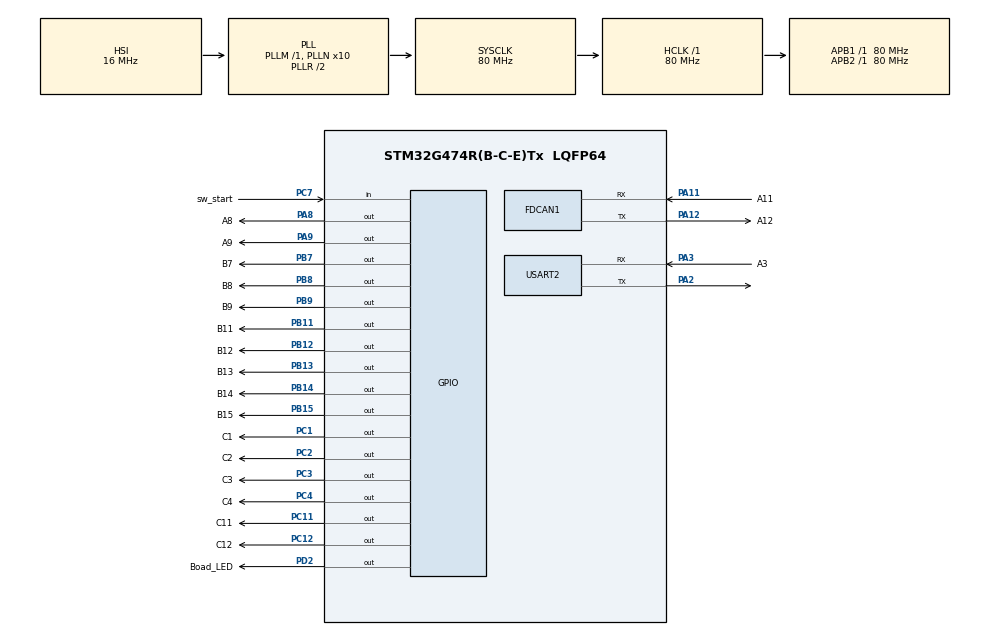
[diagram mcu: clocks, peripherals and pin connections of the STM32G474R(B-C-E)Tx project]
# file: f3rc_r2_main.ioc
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FDCAN1.CalculateBaudRateNominal=1000000
FDCAN1.CalculateTimeBitNominal=1000
FDCAN1.CalculateTimeQuantumNominal=50.0
FDCAN1.DataPrescaler=2
FDCAN1.DataTimeSeg1=15
FDCAN1.DataTimeSeg2=4
FDCAN1.FrameFormat=FDCAN_FRAME_FD_BRS
FDCAN1.NominalPrescaler=4
FDCAN1.NominalTimeSeg1=15
FDCAN1.NominalTimeSeg2=4
FDCAN1.StdFiltersNbr=1
Mcu.Family=STM32G4
Mcu.Name=STM32G474R(B-C-E)Tx
Mcu.Package=LQFP64
NVIC.FDCAN1_IT0_IRQn=true\:0\:0\:false\:false\:true\:true\:true\:true
NVIC.FDCAN1_IT1_IRQn=true\:0\:0\:false\:false\:true\:true\:true\:true
NVIC.PriorityGroup=NVIC_PRIORITYGROUP_4
NVIC.TIM6_DAC_IRQn=true\:0\:0\:false\:false\:true\:true\:true\:true
NVIC.TIM7_DAC_IRQn=true\:0\:0\:false\:false\:true\:true\:true\:true
PA11.GPIO_Label=A11
PA11.Mode=FDCAN_Activate
PA11.Signal=FDCAN1_RX
PA12.GPIO_Label=A12
PA12.Mode=FDCAN_Activate
PA12.Signal=FDCAN1_TX
PA2.Mode=Asynchronous
PA2.Signal=USART2_TX
PA3.GPIO_Label=A3
PA3.Mode=Asynchronous
PA3.Signal=USART2_RX
PA8.GPIO_Label=A8
PA8.Signal=GPIO_Output
PA9.GPIO_Label=A9
PA9.Signal=GPIO_Output
PB11.GPIO_Label=B11
PB11.Signal=GPIO_Output
PB12.GPIO_Label=B12
PB12.Signal=GPIO_Output
PB13.GPIO_Label=B13
PB13.Signal=GPIO_Output
PB14.GPIO_Label=B14
PB14.Signal=GPIO_Output
PB15.GPIO_Label=B15
PB15.Signal=GPIO_Output
PB7.GPIO_Label=B7
PB7.Signal=GPIO_Output
PB8-BOOT0.GPIO_Label=B8
PB8-BOOT0.Signal=GPIO_Output
PB9.GPIO_Label=B9
PB9.Signal=GPIO_Output
PC1.GPIO_Label=C1
PC1.Signal=GPIO_Output
PC11.GPIO_Label=C11
PC11.Signal=GPIO_Output
PC12.GPIO_Label=C12
PC12.Signal=GPIO_Output
PC2.GPIO_Label=C2
PC2.Signal=GPIO_Output
PC3.GPIO_Label=C3
PC3.Signal=GPIO_Output
PC4.GPIO_Label=C4
PC4.Signal=GPIO_Output
PC7.GPIO_Label=sw_start
PC7.GPIO_PuPd=GPIO_PULLUP
PC7.Signal=GPIO_Input
PD2.GPIO_Label=Boad_LED
PD2.Signal=GPIO_Output
ProjectManager.HeapSize=0x200
ProjectManager.StackSize=0x400
ProjectManager.TargetToolchain=STM32CubeIDE
RCC.ADC12Freq_Value=80000000
RCC.ADC345Freq_Value=80000000
RCC.AHBFreq_Value=80000000
RCC.APB1Freq_Value=80000000
RCC.APB1TimFreq_Value=80000000
RCC.APB2Freq_Value=80000000
RCC.APB2TimFreq_Value=80000000
RCC.CortexFreq_Value=80000000
RCC.EXTERNAL_CLOCK_VALUE=12288000
RCC.HCLKFreq_Value=80000000
RCC.HSE_VALUE=8000000
RCC.HSI48_VALUE=48000000
RCC.HSI_VALUE=16000000
RCC.LSE_VALUE=32768
RCC.PLLN=10
RCC.SYSCLKFreq_VALUE=80000000
RCC.SYSCLKSource=RCC_SYSCLKSOURCE_PLLCLK
RCC.USBFreq_Value=80000000
RCC.VCOOutputFreq_Value=160000000
TIM6.PeriodNoDither=7999
TIM6.Prescaler=9
TIM7.PeriodNoDither=7999
TIM7.Prescaler=999
USART2.VirtualMode-Asynchronous=VM_ASYNC
VP_SYS_VS_DBSignals.Mode=DisableDeadBatterySignals
VP_TIM6_VS_ClockSourceINT.Mode=Enable_Timer
VP_TIM7_VS_ClockSourceINT.Mode=Enable_Timer
board=custom

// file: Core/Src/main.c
/* USER CODE BEGIN Header */
/**
  ******************************************************************************
  * @file           : main.c
  * @brief          : Main program body
  ******************************************************************************
  * @attention
  *
  * Copyright (c) 2024 STMicroelectronics.
  * All rights reserved.
  *
  * This software is licensed under terms that can be found in the LICENSE file
  * in the root directory of this software component.
  * If no LICENSE file comes with this software, it is provided AS-IS.
  *
  ******************************************************************************
  */
/* USER CODE END Header */
#include "main.h"

/* USER CODE BEGIN Includes */
#include <stdio.h>
#include <math.h>
/* USER CODE END Includes */

/* USER CODE BEGIN PTD */
typedef struct{
	volatile int16_t x;
	volatile int16_t y;
	volatile float theta;
	volatile float indx;
	volatile float indy;
	volatile float indt;
}purpose;
/* USER CODE END PTD */

/* USER CODE BEGIN PD */
#define PI 3.1415
/* USER CODE END PD */

FDCAN_HandleTypeDef hfdcan1;

TIM_HandleTypeDef htim6;
TIM_HandleTypeDef htim7;

UART_HandleTypeDef huart2;

/* USER CODE BEGIN PV */
const uint8_t mv_state = 2, kaishu_state = 3, reset_state = 4;
const int16_t state_id = 0x100, vel_id = 0x001;;
FDCAN_TxHeaderTypeDef TxHeader;
FDCAN_RxHeaderTypeDef RxHeader;
FDCAN_FilterTypeDef sFilterConfig;

uint8_t TxData[8] = {};
uint8_t RxData[8] = {};
uint32_t TxMailbox;

int16_t x = 0, y = 0;
float theta = 0;

float p_x = 0, p_y = 0, p_t = 0;
purpose mokuhyo[10] = {
		{-100, 1360, 0, 0, 0, 0},//toppings 1
		{-110, 1360, PI/2, 0, 0, 0},//
		{-800, 922, PI/2, 0, 0, 0},//oke y
		{-2100, 1022, PI/2, 0, 0, 0},// oke
		{-1582/2, 980, PI/2, 0, 0, 0},//?
		{-1582/2, 50, PI/2, 0, 0, 0},//?
		{-1382, 60, PI/2, 0, 0, 0},//toppings 2
		{-1400, 80, PI/2, 0, 0, 0},//oke x
		{-1400, 920, PI/2, 0, 0, 0},//oke x y
		{-2100, 922, PI/2, 0, 0, 0}//oke(dish)
};

volatile float vx = 0, vy = 0;//mm/ms
volatile float omega = 0;
uint8_t state = 0;
uint8_t sub_state = 0;
uint8_t hantei_4 = 0;

uint16_t t_1 = 0;
uint16_t t_3 = 0;
uint16_t t_2 = 0;
uint16_t t_6 = 0;

float diffx = 0, diffy = 0, difft = 0;
/* USER CODE END PV */

void SystemClock_Config(void);
static void MX_GPIO_Init(void);
static void MX_FDCAN1_Init(void);
static void MX_USART2_UART_Init(void);
static void MX_TIM6_Init(void);
static void MX_TIM7_Init(void);

/* USER CODE BEGIN 0 */

void HAL_FDCAN_RxFifo1Callback(FDCAN_HandleTypeDef *hfdcan, uint32_t RxFifo1ITs){
	if ((RxFifo1ITs & FDCAN_IT_RX_FIFO1_NEW_MESSAGE) != RESET) {

	        /* Retrieve Rx messages from RX FIFO0 */

		if (HAL_FDCAN_GetRxMessage(&hfdcan1, FDCAN_RX_FIFO1, &RxHeader, RxData) != HAL_OK) {
			printf("fdcan_getrxmessage is error\r\n");
			Error_Handler();
		}

		if (RxHeader.Identifier == 0x400) {
			//printf("canlive");
			x = (int16_t)((RxData[0] << 8) | RxData[1]);
			y = (int16_t)((RxData[2] << 8) | RxData[3]);
			theta = (int16_t)((RxData[4] << 8) | RxData[5]);
			hantei_4 = RxData[6];
//			float theta_syf = (int16_t)((RxData[4] << 8) | RxData[5]);
//			theta_syf /= 10000;
//			if (theta >= 0) {
//				theta += theta_syf;
//			}
//			else {
//				theta -= theta_syf;
//			}
			theta /= 400;
		}
	}
}

void FDCAN_RxTxSettings(void){
	FDCAN_FilterTypeDef FDCAN_Filter_settings;
	FDCAN_Filter_settings.IdType = FDCAN_STANDARD_ID;
	FDCAN_Filter_settings.FilterIndex = 0;
	FDCAN_Filter_settings.FilterType = FDCAN_FILTER_RANGE;
	FDCAN_Filter_settings.FilterConfig = FDCAN_FILTER_TO_RXFIFO1;
	FDCAN_Filter_settings.FilterID1 = 0x000;
	FDCAN_Filter_settings.FilterID2 = 0x600;

	TxHeader.Identifier = 0x000;
	TxHeader.IdType = FDCAN_STANDARD_ID;
	TxHeader.TxFrameType = FDCAN_DATA_FRAME;
	TxHeader.DataLength = FDCAN_DLC_BYTES_8;
	TxHeader.ErrorStateIndicator = FDCAN_ESI_ACTIVE;
	TxHeader.BitRateSwitch = FDCAN_BRS_ON;
	TxHeader.FDFormat = FDCAN_FD_CAN;
	TxHeader.TxEventFifoControl = FDCAN_NO_TX_EVENTS;
	TxHeader.MessageMarker = 0;

	if (HAL_FDCAN_ConfigFilter(&hfdcan1, &FDCAN_Filter_settings) != HAL_OK){
		printf("fdcan_configfilter is error\r\n");
		Error_Handler();
	}

	if (HAL_FDCAN_ConfigGlobalFilter(&hfdcan1, FDCAN_REJECT, FDCAN_FILTER_REJECT, FDCAN_FILTER_REMOTE, FDCAN_FILTER_REMOTE) != HAL_OK){
		printf("fdcan_configglobalfilter is error\r\n");
		Error_Handler();
	}

	if (HAL_FDCAN_Start(&hfdcan1) != HAL_OK) {
		printf("fdcan_start is error\r\n");
		Error_Handler();
	}

	if (HAL_FDCAN_ActivateNotification(&hfdcan1, FDCAN_IT_RX_FIFO1_NEW_MESSAGE, 0) != HAL_OK){
		printf("fdcan_activatenotification is error\r\n");
		Error_Handler();
	}
}

void state_Tx(int8_t st, uint8_t sub_st){
	TxHeader.Identifier = state_id;
	uint8_t TxData_state[8] = {};
	TxData_state[0] = st;
	TxData_state[1] = sub_st;

	if (HAL_FDCAN_AddMessageToTxFifoQ(&hfdcan1, &TxHeader, TxData_state) != HAL_OK) {
		printf("addmassage_state is error\r\n");
		Error_Handler();
	}
}

void vel_Tx(int16_t V_X, int16_t V_Y, int16_t Omega){
	TxHeader.Identifier = vel_id;
	uint8_t TxData_vel[8] = {};

//	uint16_t Omega_syi;
//	uint8_t Omega_se;
//	if (Omega > 0){
//		Omega_se = (int16_t)Omega;
//		float Omega_syf = Omega - (int16_t)Omega;
//		Omega_syi = (uint16_t)(Omega_syf*10000);
//	}
//	else{
//		Omega_se = (int16_t)Omega;
//		float Omega_k = -Omega;
//		float Omega_syf = Omega_k - (int16_t)Omega_k;
//		Omega_syi = (uint16_t)(Omega_syf*10000);
//
//	}

	TxData_vel[0] = (int16_t)(V_X) >> 8;
	TxData_vel[1] = (uint8_t)((int16_t)(V_X) & 0xff);
	TxData_vel[2] = (int16_t)(V_Y) >> 8;
	TxData_vel[3] = (uint8_t)((int16_t)(V_Y) & 0xff);
	TxData_vel[4] = (int16_t)(Omega) >> 8;
	TxData_vel[5] = (uint8_t)((int16_t)(Omega) & 0xff);
	//TxData_vel[6] = Omega_se;
	//printf("%d\r\n",TxData_vel[3]);

	if (HAL_FDCAN_AddMessageToTxFifoQ(&hfdcan1, &TxHeader, TxData_vel) != HAL_OK){
		printf("add_message_vel is error\r\n");
		Error_Handler();
	}
}

void HAL_TIM_PeriodElapsedCallback(TIM_HandleTypeDef *htim){
	if (&htim6 == htim) {
		if (mv_state == state){
			uint8_t m_state = sub_state;
			float k_p = 0.001, k_i = 0, k_d = 0;
			float k_p_t = 1, k_i_t = 0, k_d_t = 0;
			float hensax = mokuhyo[m_state].x - x;
			float dx = (float)x - p_x;
			mokuhyo[m_state].indx += hensax;
			vx = (k_p*hensax + k_i*mokuhyo[m_state].indx + k_d*dx);

			p_x = x;

			float hensay = mokuhyo[m_state].y -y;
			float dy = (float)y - p_y;
			mokuhyo[m_state].indy += hensay;
			vy = (k_p*hensay + k_i*mokuhyo[m_state].indy + k_d*dy);
			//int Dy=vy*1000;
			//printf("dy:%d\r\n",Dy);

			p_y = y;

			float hensat = mokuhyo[m_state].theta - theta;
			float dt = theta - p_t;
			mokuhyo[m_state].indt += hensat;
			omega =(k_p_t*hensat + k_i_t*mokuhyo[m_state].indt + k_d_t*dt);

			p_t = theta;
			//printf("%d\r\n", (int)(omega*100));
		}
		else if (kaishu_state == state) {
			if (0 == sub_state){
			vx = 0;
			vy = 0.075;
			omega = 0;
			}
			else if (1 == sub_state) {
				vx = -0.075;
				vy = 0;
				omega = 0;
			}
		}
		else if (reset_state == state) {
			if (0 == sub_state) {
				vx = 0.05;
				vy = 0;
				omega = 0;
			}
			if (1 == sub_state){
				vx = -0.15;
				vy = -0.5;
				omega = 0;
			}
			else if (2 == sub_state) {
				vx = 0;
				vy = -0.1;
				omega = 0;
			}
			else if (3 == sub_state) {
				vx = 0;
				vy = -0.1;
				omega = 0;
			}
		}

		else if (128 == state) {
			vx = 0;
			vy = 0;
			omega = 0;
		}
		else{
			vx = 0;
			vy = 0;
			omega = 0;
		}
		if (vx >= 0.4) {
			vx = 0.4;
		}
		else if (vx <= -0.4) {
			vx = -0.4;
		}
		if (vy >= 0.4) {
			vy = 0.4;
		}
		else if (vy <= -0.4) {
			vy = -0.4;
		}
		if (omega >= 0.5) {
			omega = 0.5;
		}
		else if (omega <= -0.5) {
			omega = -0.5;
		}
		int16_t vx_tusin = (int16_t)(vx * 1000);
		int16_t vy_tusin = (int16_t)(vy * 1000);
		int16_t omega_tusin = (int16_t)(omega * 400);
		vel_Tx(vx_tusin, vy_tusin, omega_tusin);

	}

	if (&htim7 == htim) {
		if (0 == state) {
			if (GPIO_PIN_RESET == HAL_GPIO_ReadPin(sw_start_GPIO_Port,sw_start_Pin)){
				//switch
				state = 1;
				sub_state = 0;
			}
		}
		else if (1 == state) {
			if (GPIO_PIN_RESET == HAL_GPIO_ReadPin(sw_start_GPIO_Port,sw_start_Pin)) {
				if (10 <= t_1){
					t_1 = 0;
					state = 2;
					sub_state = 0;
				}
				else {
					t_1++;
				}
			}
			else {
				t_1++;
			}
		}
		else if (2 == state) {
			if (((fabsf(x-mokuhyo[sub_state].x) < 50) && (fabsf(y-mokuhyo[sub_state].y) < 50) && (fabsf(theta-mokuhyo[sub_state].theta) < 0.03)) || (t_2 >= 100)){
				t_2 = 0;
				if (0 == sub_state) {
					state = 3;
					sub_state = 0;
				}
				else if (1 == sub_state) {
					state = 4;
					sub_state = 1;
				}
				else if (2 == sub_state) {
					state = 2;
					sub_state = 3;
				}
				else if (3 == sub_state) {
					state = 6;
					sub_state = 0;
				}
				else if (4 == sub_state) {
					state = 2;
					sub_state = 5;
				}
				else if (5 == sub_state) {
					state = 4;
					sub_state = 2;
				}
				else if (6 == sub_state) {
					state = 3;
					sub_state = 1;
				}
				else if (7 == sub_state) {
					state = 4;
					sub_state = 3;
				}
				else if (8 == sub_state) {
					state = 2;
					sub_state = 9;
				}
				else if (9 == sub_state) {
					state = 6;
					sub_state = 1;
				}

				else {
					state = 128;
					sub_state = 128;
				}
			}
			else {
				t_2++;
			}
		}
			//else
		else if (3 == state) {
			if (0 == sub_state){
				if (t_3 > 130) {
					t_3 = 0;
					state = 4;
					sub_state = 0;
				}
				else {
					t_3++;
				}
			}
			else if (1 == sub_state) {
				if (t_3 > 150) {
					t_3 = 0;
					state = 2;
					sub_state = 7;
				}
				else {
					t_3++;
				}
			}
			else {
				state = 128;
				sub_state = 128;
			}
		}
		else if (4 == state) {
			if (0 == sub_state) {
				if (1 == hantei_4) {
					state = 2;
					sub_state = 1;
				}
			}

			else if (1 == sub_state) {
				if (1 == hantei_4){
					state = 2;
					sub_state = 2;
				}
			}
			else if (2 == sub_state) {
				if (1 == hantei_4) {
					state = 2;
					sub_state = 6;
				}
			}
			else if (3 == sub_state) {
				if (1 == hantei_4) {
					state = 2;
					sub_state = 8;
				}
			}
			else {
				state = 128;
				sub_state = 128;
			}
		}
		else if (5 == state) {
			if (NULL) {//raspberry pi
				state = 128;
				sub_state = 128;
			}
		}
		else if (6 == state) {
			if (0 == sub_state) {
				if (t_6 > 50) {
					t_6 = 0;
					state = 2;
					sub_state = 4;
				}
				else {
					t_6++;
				}
			}
			if (1 == sub_state) {
				if (t_6 > 50) {
					t_6 = 0;
					state = 6;
					sub_state = 1;
				}
				else {
					t_6++;
				}
			}
		}

		else if (128 == state) {
			HAL_GPIO_WritePin(Boad_LED_GPIO_Port, Boad_LED_Pin, GPIO_PIN_SET);
		}
		else {
			state = 128;
			sub_state = 128;
		}
		state_Tx(state, sub_state);
	}
}

int _write(int file, char *ptr, int len)
{
    HAL_UART_Transmit(&huart2,(uint8_t *)ptr,len,10);
    return len;
}
/* USER CODE END 0 */

int main(void)
{

  /* USER CODE BEGIN 1 */
	setbuf(stdout, NULL);
  /* USER CODE END 1 */

  /* MCU Configuration--------------------------------------------------------*/

  /* Reset of all peripherals, Initializes the Flash interface and the Systick. */
  HAL_Init();

  /* Configure the system clock */
  SystemClock_Config();

  /* Initialize all configured peripherals */
  MX_GPIO_Init();
  MX_FDCAN1_Init();
  MX_USART2_UART_Init();
  MX_TIM6_Init();
  MX_TIM7_Init();
  /* USER CODE BEGIN 2 */
  printf("start\r\n");
  FDCAN_RxTxSettings();
  printf("can_main_start\r\n");
  HAL_TIM_Base_Start_IT(&htim6);
  HAL_TIM_Base_Start_IT(&htim7);
  /* USER CODE END 2 */

  /* Infinite loop */
  /* USER CODE BEGIN WHILE */
  //HAL_GPIO_WritePin(B15_GPIO_Port, B15_Pin, GPIO_PIN_SET);
  //HAL_GPIO_WritePin(A8_GPIO_Port, A8_Pin, GPIO_PIN_SET);
  while (1)
  {
    /* USER CODE END WHILE */

    /* USER CODE BEGIN 3 */
	  //printf("x: %d,y: %d\r\n",x,y);
	  //printf("dy: %f\r\n",dy);
	  //printf("%d.%d\r\n", (int)vy, (int)(100*(vy-(int)vy)));
	  //printf("%d\r\n", (int)(omega*100));

	  if (0 == sub_state) {
		  HAL_GPIO_WritePin(B7_GPIO_Port, B7_Pin, GPIO_PIN_SET);
		  HAL_GPIO_WritePin(B8_GPIO_Port, B8_Pin, GPIO_PIN_SET);
		  HAL_GPIO_WritePin(B9_GPIO_Port, B9_Pin, GPIO_PIN_SET);
		  HAL_GPIO_WritePin(C12_GPIO_Port, C12_Pin, GPIO_PIN_SET);
		  HAL_GPIO_WritePin(A9_GPIO_Port, A9_Pin, GPIO_PIN_SET);
		  HAL_GPIO_WritePin(C4_GPIO_Port, C4_Pin, GPIO_PIN_SET);

		  HAL_GPIO_WritePin(C11_GPIO_Port, C11_Pin, GPIO_PIN_RESET);
	  }
	  else if (1 == sub_state) {
		  HAL_GPIO_WritePin(C4_GPIO_Port, C4_Pin, GPIO_PIN_SET);
		  HAL_GPIO_WritePin(B7_GPIO_Port, B7_Pin, GPIO_PIN_SET);

		  HAL_GPIO_WritePin(B8_GPIO_Port, B8_Pin, GPIO_PIN_RESET);
		  HAL_GPIO_WritePin(B9_GPIO_Port, B9_Pin, GPIO_PIN_RESET);
		  HAL_GPIO_WritePin(C12_GPIO_Port, C12_Pin, GPIO_PIN_RESET);
		  HAL_GPIO_WritePin(A9_GPIO_Port, A9_Pin, GPIO_PIN_RESET);
		  HAL_GPIO_WritePin(C11_GPIO_Port, C11_Pin, GPIO_PIN_RESET);
	  }
	  else if (2 == sub_state) {
		  HAL_GPIO_WritePin(B7_GPIO_Port, B7_Pin, GPIO_PIN_SET);
		  HAL_GPIO_WritePin(B8_GPIO_Port, B8_Pin, GPIO_PIN_SET);
		  HAL_GPIO_WritePin(C11_GPIO_Port, C11_Pin, GPIO_PIN_SET);
		  HAL_GPIO_WritePin(A9_GPIO_Port, A9_Pin, GPIO_PIN_SET);
		  HAL_GPIO_WritePin(C12_GPIO_Port, C12_Pin, GPIO_PIN_SET);

		  HAL_GPIO_WritePin(C4_GPIO_Port, C4_Pin, GPIO_PIN_RESET);
		  HAL_GPIO_WritePin(B9_GPIO_Port, B9_Pin, GPIO_PIN_RESET);
	  }
	  else if (3 == sub_state) {
		  HAL_GPIO_WritePin(B7_GPIO_Port, B7_Pin, GPIO_PIN_SET);
		  HAL_GPIO_WritePin(B8_GPIO_Port, B8_Pin, GPIO_PIN_SET);
		  HAL_GPIO_WritePin(C11_GPIO_Port, C11_Pin, GPIO_PIN_SET);
		  HAL_GPIO_WritePin(C12_GPIO_Port, C12_Pin, GPIO_PIN_SET);
		  HAL_GPIO_WritePin(C4_GPIO_Port, C4_Pin, GPIO_PIN_SET);

		  HAL_GPIO_WritePin(B9_GPIO_Port, B9_Pin, GPIO_PIN_RESET);
		  HAL_GPIO_WritePin(A9_GPIO_Port, A9_Pin, GPIO_PIN_RESET);
	  }
	  else if (4 == sub_state) {
		  HAL_GPIO_WritePin(B8_GPIO_Port, B8_Pin, GPIO_PIN_SET);
		  HAL_GPIO_WritePin(C11_GPIO_Port, C11_Pin, GPIO_PIN_SET);
		  HAL_GPIO_WritePin(C4_GPIO_Port, C4_Pin, GPIO_PIN_SET);
		  HAL_GPIO_WritePin(B9_GPIO_Port, B9_Pin, GPIO_PIN_SET);

		  HAL_GPIO_WritePin(A9_GPIO_Port, A9_Pin, GPIO_PIN_RESET);
		  HAL_GPIO_WritePin(B7_GPIO_Port, B7_Pin, GPIO_PIN_RESET);
		  HAL_GPIO_WritePin(C12_GPIO_Port, C12_Pin, GPIO_PIN_RESET);
	  }
	  else if (5 == sub_state) {
		  HAL_GPIO_WritePin(B8_GPIO_Port, B8_Pin, GPIO_PIN_SET);
		  HAL_GPIO_WritePin(C11_GPIO_Port, C11_Pin, GPIO_PIN_SET);
		  HAL_GPIO_WritePin(C4_GPIO_Port, C4_Pin, GPIO_PIN_SET);
		  HAL_GPIO_WritePin(B9_GPIO_Port, B9_Pin, GPIO_PIN_SET);
		  HAL_GPIO_WritePin(C12_GPIO_Port, C12_Pin, GPIO_PIN_SET);

		  HAL_GPIO_WritePin(A9_GPIO_Port, A9_Pin, GPIO_PIN_RESET);
		  HAL_GPIO_WritePin(B7_GPIO_Port, B7_Pin, GPIO_PIN_RESET);
	  }
	  else if (6 == sub_state) {
		  HAL_GPIO_WritePin(B8_GPIO_Port, B8_Pin, GPIO_PIN_SET);
		  HAL_GPIO_WritePin(B9_GPIO_Port, B9_Pin, GPIO_PIN_SET);
		  HAL_GPIO_WritePin(C12_GPIO_Port, C12_Pin, GPIO_PIN_SET);
		  HAL_GPIO_WritePin(A9_GPIO_Port, A9_Pin, GPIO_PIN_SET);
		  HAL_GPIO_WritePin(C4_GPIO_Port, C4_Pin, GPIO_PIN_SET);
		  HAL_GPIO_WritePin(C11_GPIO_Port, C11_Pin, GPIO_PIN_SET);

		  HAL_GPIO_WritePin(B7_GPIO_Port, B7_Pin, GPIO_PIN_RESET);
	  }
	  else if (7 == sub_state) {
		  HAL_GPIO_WritePin(B8_GPIO_Port, B8_Pin, GPIO_PIN_SET);
		  HAL_GPIO_WritePin(B9_GPIO_Port, B9_Pin, GPIO_PIN_SET);
		  HAL_GPIO_WritePin(C4_GPIO_Port, C4_Pin, GPIO_PIN_SET);
		  HAL_GPIO_WritePin(B7_GPIO_Port, B7_Pin, GPIO_PIN_SET);

		  HAL_GPIO_WritePin(C11_GPIO_Port, C11_Pin, GPIO_PIN_RESET);
		  HAL_GPIO_WritePin(C12_GPIO_Port, C12_Pin, GPIO_PIN_RESET);
		  HAL_GPIO_WritePin(A9_GPIO_Port, A9_Pin, GPIO_PIN_RESET);
	  }
	  else if (8 == sub_state) {
		  HAL_GPIO_WritePin(B8_GPIO_Port, B8_Pin, GPIO_PIN_SET);
		  HAL_GPIO_WritePin(B9_GPIO_Port, B9_Pin, GPIO_PIN_SET);
		  HAL_GPIO_WritePin(C4_GPIO_Port, C4_Pin, GPIO_PIN_SET);
		  HAL_GPIO_WritePin(B7_GPIO_Port, B7_Pin, GPIO_PIN_SET);
		  HAL_GPIO_WritePin(C11_GPIO_Port, C11_Pin, GPIO_PIN_SET);
		  HAL_GPIO_WritePin(C12_GPIO_Port, C12_Pin, GPIO_PIN_SET);
		  HAL_GPIO_WritePin(A9_GPIO_Port, A9_Pin, GPIO_PIN_SET);
	  }
	  else if (9 == sub_state) {
		  HAL_GPIO_WritePin(B8_GPIO_Port, B8_Pin, GPIO_PIN_SET);
		  HAL_GPIO_WritePin(B9_GPIO_Port, B9_Pin, GPIO_PIN_SET);
		  HAL_GPIO_WritePin(C4_GPIO_Port, C4_Pin, GPIO_PIN_SET);
		  HAL_GPIO_WritePin(B7_GPIO_Port, B7_Pin, GPIO_PIN_SET);
		  HAL_GPIO_WritePin(C11_GPIO_Port, C11_Pin, GPIO_PIN_SET);
		  HAL_GPIO_WritePin(C12_GPIO_Port, C12_Pin, GPIO_PIN_SET);

		  HAL_GPIO_WritePin(A9_GPIO_Port, A9_Pin, GPIO_PIN_RESET);
	  }
	  else if (128 == sub_state) {
		  HAL_GPIO_WritePin(B8_GPIO_Port, B8_Pin, GPIO_PIN_RESET);
		  HAL_GPIO_WritePin(B9_GPIO_Port, B9_Pin, GPIO_PIN_RESET);
		  HAL_GPIO_WritePin(C4_GPIO_Port, C4_Pin, GPIO_PIN_RESET);
		  HAL_GPIO_WritePin(B7_GPIO_Port, B7_Pin, GPIO_PIN_RESET);
		  HAL_GPIO_WritePin(C11_GPIO_Port, C11_Pin, GPIO_PIN_RESET);
		  HAL_GPIO_WritePin(C12_GPIO_Port, C12_Pin, GPIO_PIN_RESET);
		  HAL_GPIO_WritePin(A9_GPIO_Port, A9_Pin, GPIO_PIN_RESET);
	  }

	  if (0 == state) {
		  HAL_GPIO_WritePin(B14_GPIO_Port, B14_Pin, GPIO_PIN_SET);
		  HAL_GPIO_WritePin(B12_GPIO_Port, B12_Pin, GPIO_PIN_SET);
		  HAL_GPIO_WritePin(C1_GPIO_Port, C1_Pin, GPIO_PIN_SET);
		  HAL_GPIO_WritePin(C2_GPIO_Port, C2_Pin, GPIO_PIN_SET);
		  HAL_GPIO_WritePin(C3_GPIO_Port, C3_Pin, GPIO_PIN_SET);
		  HAL_GPIO_WritePin(B11_GPIO_Port, B11_Pin, GPIO_PIN_SET);

		  HAL_GPIO_WritePin(B13_GPIO_Port, B13_Pin, GPIO_PIN_RESET);
	  }
	  else if (1 == state) {
		  HAL_GPIO_WritePin(B11_GPIO_Port, B11_Pin, GPIO_PIN_SET);
		  HAL_GPIO_WritePin(C1_GPIO_Port, C1_Pin, GPIO_PIN_SET);

		  HAL_GPIO_WritePin(B14_GPIO_Port, B14_Pin, GPIO_PIN_RESET);
		  HAL_GPIO_WritePin(B12_GPIO_Port, B12_Pin, GPIO_PIN_RESET);
		  HAL_GPIO_WritePin(B13_GPIO_Port, B13_Pin, GPIO_PIN_RESET);
		  HAL_GPIO_WritePin(C2_GPIO_Port, C2_Pin, GPIO_PIN_RESET);
		  HAL_GPIO_WritePin(C3_GPIO_Port, C3_Pin, GPIO_PIN_RESET);

	  }
	  else if (2 == state) {
		  HAL_GPIO_WritePin(B11_GPIO_Port, B11_Pin, GPIO_PIN_SET);
		  HAL_GPIO_WritePin(B14_GPIO_Port, B14_Pin, GPIO_PIN_SET);
		  HAL_GPIO_WritePin(B13_GPIO_Port, B13_Pin, GPIO_PIN_SET);
		  HAL_GPIO_WritePin(C3_GPIO_Port, C3_Pin, GPIO_PIN_SET);
		  HAL_GPIO_WritePin(C2_GPIO_Port, C2_Pin, GPIO_PIN_SET);

		  HAL_GPIO_WritePin(B12_GPIO_Port, B12_Pin, GPIO_PIN_RESET);
		  HAL_GPIO_WritePin(C1_GPIO_Port, C1_Pin, GPIO_PIN_RESET);
	  }
	  else if (3 == state) {
		  HAL_GPIO_WritePin(B11_GPIO_Port, B11_Pin, GPIO_PIN_SET);
		  HAL_GPIO_WritePin(B14_GPIO_Port, B14_Pin, GPIO_PIN_SET);
		  HAL_GPIO_WritePin(B13_GPIO_Port, B13_Pin, GPIO_PIN_SET);
		  HAL_GPIO_WritePin(C1_GPIO_Port, C1_Pin, GPIO_PIN_SET);
		  HAL_GPIO_WritePin(C2_GPIO_Port, C2_Pin, GPIO_PIN_SET);

		  HAL_GPIO_WritePin(B12_GPIO_Port, B12_Pin, GPIO_PIN_RESET);
		  HAL_GPIO_WritePin(C3_GPIO_Port, C3_Pin, GPIO_PIN_RESET);
	  }
	  else if (4 == state) {
		  HAL_GPIO_WritePin(B12_GPIO_Port, B12_Pin, GPIO_PIN_SET);
		  HAL_GPIO_WritePin(B13_GPIO_Port, B13_Pin, GPIO_PIN_SET);
		  HAL_GPIO_WritePin(C1_GPIO_Port, C1_Pin, GPIO_PIN_SET);
		  HAL_GPIO_WritePin(B11_GPIO_Port, B11_Pin, GPIO_PIN_SET);

		  HAL_GPIO_WritePin(C2_GPIO_Port, C2_Pin, GPIO_PIN_RESET);
		  HAL_GPIO_WritePin(C3_GPIO_Port, C3_Pin, GPIO_PIN_RESET);
		  HAL_GPIO_WritePin(B14_GPIO_Port, B14_Pin, GPIO_PIN_RESET);
	  }
	  else if (5 == state) {
		  HAL_GPIO_WritePin(B14_GPIO_Port, B14_Pin, GPIO_PIN_SET);
		  HAL_GPIO_WritePin(B12_GPIO_Port, B12_Pin, GPIO_PIN_SET);
		  HAL_GPIO_WritePin(B13_GPIO_Port, B13_Pin, GPIO_PIN_SET);
		  HAL_GPIO_WritePin(C1_GPIO_Port, C1_Pin, GPIO_PIN_SET);
		  HAL_GPIO_WritePin(C2_GPIO_Port, C2_Pin, GPIO_PIN_SET);

		  HAL_GPIO_WritePin(C3_GPIO_Port, C3_Pin, GPIO_PIN_RESET);
		  HAL_GPIO_WritePin(B11_GPIO_Port, B11_Pin, GPIO_PIN_RESET);
	  }
	  else if (6 == state) {
		  HAL_GPIO_WritePin(B14_GPIO_Port, B14_Pin, GPIO_PIN_SET);
		  HAL_GPIO_WritePin(B12_GPIO_Port, B12_Pin, GPIO_PIN_SET);
		  HAL_GPIO_WritePin(B13_GPIO_Port, B13_Pin, GPIO_PIN_SET);
		  HAL_GPIO_WritePin(C1_GPIO_Port, C1_Pin, GPIO_PIN_SET);
		  HAL_GPIO_WritePin(C2_GPIO_Port, C2_Pin, GPIO_PIN_SET);
		  HAL_GPIO_WritePin(C3_GPIO_Port, C3_Pin, GPIO_PIN_SET);

		  HAL_GPIO_WritePin(B11_GPIO_Port, B11_Pin, GPIO_PIN_RESET);
	  }
	  else if (7 == state) {
		  HAL_GPIO_WritePin(B11_GPIO_Port, B11_Pin, GPIO_PIN_SET);
		  HAL_GPIO_WritePin(C1_GPIO_Port, C1_Pin, GPIO_PIN_SET);
		  HAL_GPIO_WritePin(B12_GPIO_Port, B12_Pin, GPIO_PIN_SET);
		  HAL_GPIO_WritePin(B14_GPIO_Port, B14_Pin, GPIO_PIN_SET);

		  HAL_GPIO_WritePin(B13_GPIO_Port, B13_Pin, GPIO_PIN_RESET);
		  HAL_GPIO_WritePin(C2_GPIO_Port, C2_Pin, GPIO_PIN_RESET);
		  HAL_GPIO_WritePin(C3_GPIO_Port, C3_Pin, GPIO_PIN_RESET);
	  }
	  else if (8 == state) {
		  HAL_GPIO_WritePin(B14_GPIO_Port, B14_Pin, GPIO_PIN_SET);
		  HAL_GPIO_WritePin(B12_GPIO_Port, B12_Pin, GPIO_PIN_SET);
		  HAL_GPIO_WritePin(B13_GPIO_Port, B13_Pin, GPIO_PIN_SET);
		  HAL_GPIO_WritePin(C1_GPIO_Port, C1_Pin, GPIO_PIN_SET);
		  HAL_GPIO_WritePin(C2_GPIO_Port, C2_Pin, GPIO_PIN_SET);
		  HAL_GPIO_WritePin(C3_GPIO_Port, C3_Pin, GPIO_PIN_SET);
		  HAL_GPIO_WritePin(B11_GPIO_Port, B11_Pin, GPIO_PIN_SET);
	  }
	  else if (9 == state) {
		  HAL_GPIO_WritePin(B14_GPIO_Port, B14_Pin, GPIO_PIN_SET);
		  HAL_GPIO_WritePin(B12_GPIO_Port, B12_Pin, GPIO_PIN_SET);
		  HAL_GPIO_WritePin(C1_GPIO_Port, C1_Pin, GPIO_PIN_SET);
		  HAL_GPIO_WritePin(C2_GPIO_Port, C2_Pin, GPIO_PIN_SET);
		  HAL_GPIO_WritePin(C3_GPIO_Port, C3_Pin, GPIO_PIN_SET);
		  HAL_GPIO_WritePin(B11_GPIO_Port, B11_Pin, GPIO_PIN_SET);

		  HAL_GPIO_WritePin(B13_GPIO_Port, B13_Pin, GPIO_PIN_RESET);
	  }
	  else if (128 == state) {
		  HAL_GPIO_WritePin(B14_GPIO_Port, B14_Pin, GPIO_PIN_RESET);
		  HAL_GPIO_WritePin(B12_GPIO_Port, B12_Pin, GPIO_PIN_RESET);
		  HAL_GPIO_WritePin(B13_GPIO_Port, B13_Pin, GPIO_PIN_RESET);
		  HAL_GPIO_WritePin(C1_GPIO_Port, C1_Pin, GPIO_PIN_RESET);
		  HAL_GPIO_WritePin(C2_GPIO_Port, C2_Pin, GPIO_PIN_RESET);
		  HAL_GPIO_WritePin(C3_GPIO_Port, C3_Pin, GPIO_PIN_RESET);
		  HAL_GPIO_WritePin(B11_GPIO_Port, B11_Pin, GPIO_PIN_RESET);
	  }
	  //printf("%d, %d(%d, %d, %f)%d\r\n", state, sub_state, x, y, theta, t_3);
	  //printf("\r\n");
	  if (2 == state) {
		  diffx = x-mokuhyo[sub_state].x;
		  diffy = y-mokuhyo[sub_state].y;
		  difft = theta-mokuhyo[sub_state].theta;
		  printf("%f, %f, %f\r\n", diffx, diffy, difft);
	  }
	  HAL_Delay(100);
  }
  /* USER CODE END 3 */
}

void SystemClock_Config(void)
{
  RCC_OscInitTypeDef RCC_OscInitStruct = {0};
  RCC_ClkInitTypeDef RCC_ClkInitStruct = {0};

  /** Configure the main internal regulator output voltage
  */
  HAL_PWREx_ControlVoltageScaling(PWR_REGULATOR_VOLTAGE_SCALE1);

  /** Initializes the RCC Oscillators according to the specified parameters
  * in the RCC_OscInitTypeDef structure.
  */
  RCC_OscInitStruct.OscillatorType = RCC_OSCILLATORTYPE_HSI;
  RCC_OscInitStruct.HSIState = RCC_HSI_ON;
  RCC_OscInitStruct.HSICalibrationValue = RCC_HSICALIBRATION_DEFAULT;
  RCC_OscInitStruct.PLL.PLLState = RCC_PLL_ON;
  RCC_OscInitStruct.PLL.PLLSource = RCC_PLLSOURCE_HSI;
  RCC_OscInitStruct.PLL.PLLM = RCC_PLLM_DIV1;
  RCC_OscInitStruct.PLL.PLLN = 10;
  RCC_OscInitStruct.PLL.PLLP = RCC_PLLP_DIV2;
  RCC_OscInitStruct.PLL.PLLQ = RCC_PLLQ_DIV2;
  RCC_OscInitStruct.PLL.PLLR = RCC_PLLR_DIV2;
  if (HAL_RCC_OscConfig(&RCC_OscInitStruct) != HAL_OK)
  {
    Error_Handler();
  }

  /** Initializes the CPU, AHB and APB buses clocks
  */
  RCC_ClkInitStruct.ClockType = RCC_CLOCKTYPE_HCLK|RCC_CLOCKTYPE_SYSCLK
                              |RCC_CLOCKTYPE_PCLK1|RCC_CLOCKTYPE_PCLK2;
  RCC_ClkInitStruct.SYSCLKSource = RCC_SYSCLKSOURCE_PLLCLK;
  RCC_ClkInitStruct.AHBCLKDivider = RCC_SYSCLK_DIV1;
  RCC_ClkInitStruct.APB1CLKDivider = RCC_HCLK_DIV1;
  RCC_ClkInitStruct.APB2CLKDivider = RCC_HCLK_DIV1;

  if (HAL_RCC_ClockConfig(&RCC_ClkInitStruct, FLASH_LATENCY_2) != HAL_OK)
  {
    Error_Handler();
  }
}

static void MX_FDCAN1_Init(void)
{

  hfdcan1.Instance = FDCAN1;
  hfdcan1.Init.ClockDivider = FDCAN_CLOCK_DIV1;
  hfdcan1.Init.FrameFormat = FDCAN_FRAME_FD_BRS;
  hfdcan1.Init.Mode = FDCAN_MODE_NORMAL;
  hfdcan1.Init.AutoRetransmission = DISABLE;
  hfdcan1.Init.TransmitPause = DISABLE;
  hfdcan1.Init.ProtocolException = DISABLE;
  hfdcan1.Init.NominalPrescaler = 4;
  hfdcan1.Init.NominalSyncJumpWidth = 1;
  hfdcan1.Init.NominalTimeSeg1 = 15;
  hfdcan1.Init.NominalTimeSeg2 = 4;
  hfdcan1.Init.DataPrescaler = 2;
  hfdcan1.Init.DataSyncJumpWidth = 1;
  hfdcan1.Init.DataTimeSeg1 = 15;
  hfdcan1.Init.DataTimeSeg2 = 4;
  hfdcan1.Init.StdFiltersNbr = 1;
  hfdcan1.Init.ExtFiltersNbr = 0;
  hfdcan1.Init.TxFifoQueueMode = FDCAN_TX_FIFO_OPERATION;
  if (HAL_FDCAN_Init(&hfdcan1) != HAL_OK)
  {
    Error_Handler();
  }

}

static void MX_TIM6_Init(void)
{

  TIM_MasterConfigTypeDef sMasterConfig = {0};

  htim6.Instance = TIM6;
  htim6.Init.Prescaler = 9;
  htim6.Init.CounterMode = TIM_COUNTERMODE_UP;
  htim6.Init.Period = 7999;
  htim6.Init.AutoReloadPreload = TIM_AUTORELOAD_PRELOAD_DISABLE;
  if (HAL_TIM_Base_Init(&htim6) != HAL_OK)
  {
    Error_Handler();
  }
  sMasterConfig.MasterOutputTrigger = TIM_TRGO_RESET;
  sMasterConfig.MasterSlaveMode = TIM_MASTERSLAVEMODE_DISABLE;
  if (HAL_TIMEx_MasterConfigSynchronization(&htim6, &sMasterConfig) != HAL_OK)
  {
    Error_Handler();
  }

}

static void MX_TIM7_Init(void)
{

  TIM_MasterConfigTypeDef sMasterConfig = {0};

  htim7.Instance = TIM7;
  htim7.Init.Prescaler = 999;
  htim7.Init.CounterMode = TIM_COUNTERMODE_UP;
  htim7.Init.Period = 7999;
  htim7.Init.AutoReloadPreload = TIM_AUTORELOAD_PRELOAD_DISABLE;
  if (HAL_TIM_Base_Init(&htim7) != HAL_OK)
  {
    Error_Handler();
  }
  sMasterConfig.MasterOutputTrigger = TIM_TRGO_RESET;
  sMasterConfig.MasterSlaveMode = TIM_MASTERSLAVEMODE_DISABLE;
  if (HAL_TIMEx_MasterConfigSynchronization(&htim7, &sMasterConfig) != HAL_OK)
  {
    Error_Handler();
  }

}

static void MX_USART2_UART_Init(void)
{

  huart2.Instance = USART2;
  huart2.Init.BaudRate = 115200;
  huart2.Init.WordLength = UART_WORDLENGTH_8B;
  huart2.Init.StopBits = UART_STOPBITS_1;
  huart2.Init.Parity = UART_PARITY_NONE;
  huart2.Init.Mode = UART_MODE_TX_RX;
  huart2.Init.HwFlowCtl = UART_HWCONTROL_NONE;
  huart2.Init.OverSampling = UART_OVERSAMPLING_16;
  huart2.Init.OneBitSampling = UART_ONE_BIT_SAMPLE_DISABLE;
  huart2.Init.ClockPrescaler = UART_PRESCALER_DIV1;
  huart2.AdvancedInit.AdvFeatureInit = UART_ADVFEATURE_NO_INIT;
  if (HAL_UART_Init(&huart2) != HAL_OK)
  {
    Error_Handler();
  }
  if (HAL_UARTEx_SetTxFifoThreshold(&huart2, UART_TXFIFO_THRESHOLD_1_8) != HAL_OK)
  {
    Error_Handler();
  }
  if (HAL_UARTEx_SetRxFifoThreshold(&huart2, UART_RXFIFO_THRESHOLD_1_8) != HAL_OK)
  {
    Error_Handler();
  }
  if (HAL_UARTEx_DisableFifoMode(&huart2) != HAL_OK)
  {
    Error_Handler();
  }

}

static void MX_GPIO_Init(void)
{
  GPIO_InitTypeDef GPIO_InitStruct = {0};

  /* GPIO Ports Clock Enable */
  __HAL_RCC_GPIOC_CLK_ENABLE();
  __HAL_RCC_GPIOA_CLK_ENABLE();
  __HAL_RCC_GPIOB_CLK_ENABLE();
  __HAL_RCC_GPIOD_CLK_ENABLE();

  /*Configure GPIO pin Output Level */
  HAL_GPIO_WritePin(GPIOC, C1_Pin|C2_Pin|C3_Pin|C4_Pin
                          |C11_Pin|C12_Pin, GPIO_PIN_RESET);

  /*Configure GPIO pin Output Level */
  HAL_GPIO_WritePin(GPIOB, B11_Pin|B12_Pin|B13_Pin|B14_Pin
                          |B15_Pin|B7_Pin|B8_Pin|B9_Pin, GPIO_PIN_RESET);

  /*Configure GPIO pin Output Level */
  HAL_GPIO_WritePin(GPIOA, A8_Pin|A9_Pin, GPIO_PIN_RESET);

  /*Configure GPIO pin Output Level */
  HAL_GPIO_WritePin(Boad_LED_GPIO_Port, Boad_LED_Pin, GPIO_PIN_RESET);

  /*Configure GPIO pins : C1_Pin C2_Pin C3_Pin C4_Pin
                           C11_Pin C12_Pin */
  GPIO_InitStruct.Pin = C1_Pin|C2_Pin|C3_Pin|C4_Pin
                          |C11_Pin|C12_Pin;
  GPIO_InitStruct.Mode = GPIO_MODE_OUTPUT_PP;
  GPIO_InitStruct.Pull = GPIO_NOPULL;
  GPIO_InitStruct.Speed = GPIO_SPEED_FREQ_LOW;
  HAL_GPIO_Init(GPIOC, &GPIO_InitStruct);

  /*Configure GPIO pins : B11_Pin B12_Pin B13_Pin B14_Pin
                           B15_Pin B7_Pin B8_Pin B9_Pin */
  GPIO_InitStruct.Pin = B11_Pin|B12_Pin|B13_Pin|B14_Pin
                          |B15_Pin|B7_Pin|B8_Pin|B9_Pin;
  GPIO_InitStruct.Mode = GPIO_MODE_OUTPUT_PP;
  GPIO_InitStruct.Pull = GPIO_NOPULL;
  GPIO_InitStruct.Speed = GPIO_SPEED_FREQ_LOW;
  HAL_GPIO_Init(GPIOB, &GPIO_InitStruct);

  /*Configure GPIO pin : sw_start_Pin */
  GPIO_InitStruct.Pin = sw_start_Pin;
  GPIO_InitStruct.Mode = GPIO_MODE_INPUT;
  GPIO_InitStruct.Pull = GPIO_PULLUP;
  HAL_GPIO_Init(sw_start_GPIO_Port, &GPIO_InitStruct);

  /*Configure GPIO pins : A8_Pin A9_Pin */
  GPIO_InitStruct.Pin = A8_Pin|A9_Pin;
  GPIO_InitStruct.Mode = GPIO_MODE_OUTPUT_PP;
  GPIO_InitStruct.Pull = GPIO_NOPULL;
  GPIO_InitStruct.Speed = GPIO_SPEED_FREQ_LOW;
  HAL_GPIO_Init(GPIOA, &GPIO_InitStruct);

  /*Configure GPIO pin : Boad_LED_Pin */
  GPIO_InitStruct.Pin = Boad_LED_Pin;
  GPIO_InitStruct.Mode = GPIO_MODE_OUTPUT_PP;
  GPIO_InitStruct.Pull = GPIO_NOPULL;
  GPIO_InitStruct.Speed = GPIO_SPEED_FREQ_LOW;
  HAL_GPIO_Init(Boad_LED_GPIO_Port, &GPIO_InitStruct);

}

void Error_Handler(void)
{
  /* USER CODE BEGIN Error_Handler_Debug */
  /* User can add his own implementation to report the HAL error return state */
  __disable_irq();
  printf("Error\r\n");
  HAL_GPIO_WritePin(Boad_LED_GPIO_Port, Boad_LED_Pin, GPIO_PIN_SET);
  while (1)
  {
  }
  /* USER CODE END Error_Handler_Debug */
}
